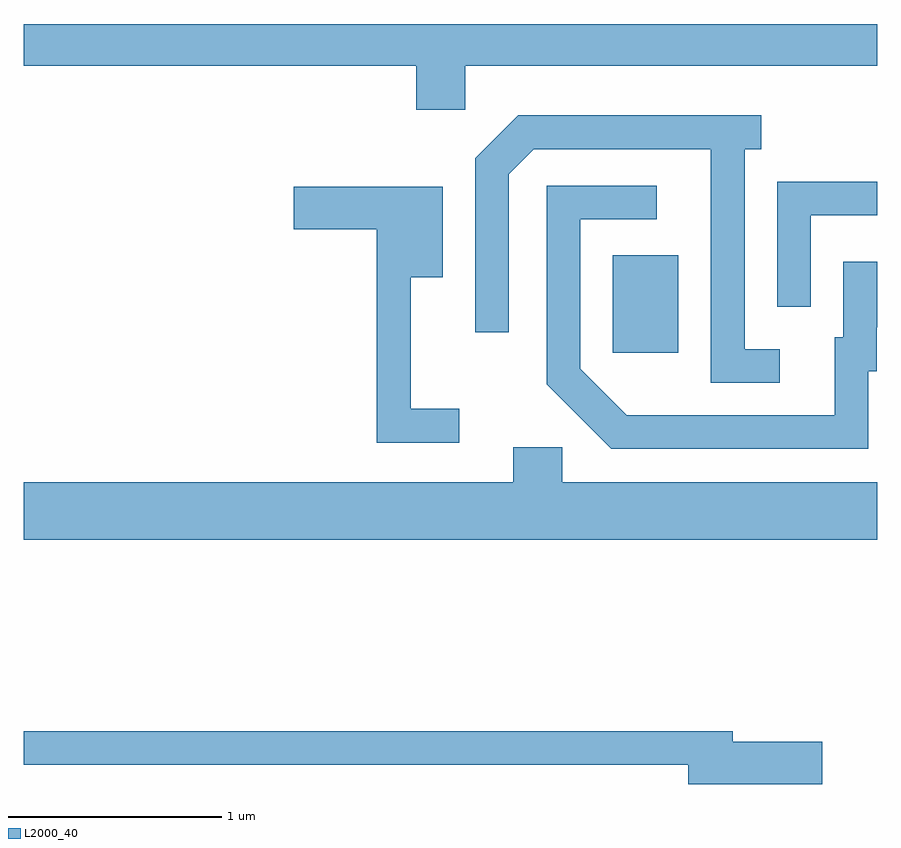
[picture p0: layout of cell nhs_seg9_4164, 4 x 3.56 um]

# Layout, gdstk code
import gdstk
lib = gdstk.Library(unit=1e-6, precision=1e-09)
def R(c, l, rs):  # rectangles x0, y0, x1, y1
    for r in rs: c.add(gdstk.rectangle(r[:2], r[2:], *l))
def P(c, l, *ps):  # polygons
    for p in ps: c.add(gdstk.Polygon(p, *l))
L2000_40 = (2000, 40)

nhs_seg9_4164 = lib.new_cell('nhs_seg9_4164')
R(nhs_seg9_4164, L2000_40, [(310.371,2014.891,310.679,2015.349)])
P(nhs_seg9_4164, L2000_40, [(309.679,2016.236),(311.611,2016.236),(311.611,2016.432),(307.611,2016.432),(307.611,2016.236),(309.451,2016.236),(309.451,2016.031),(309.679,2016.031)],
  [(311.153,2014.909),(310.989,2014.909),(310.989,2015.846),(311.068,2015.846),(311.068,2016.004),(309.929,2016.004),(309.726,2015.802),(309.726,2014.988),(309.884,2014.988),(309.884,2015.729),(310.002,2015.846),(310.831,2015.846),(310.831,2014.751),(311.153,2014.751)],
  [(311.299,2015.536),(311.611,2015.536),(311.611,2015.694),(311.141,2015.694),(311.141,2015.108),(311.299,2015.108)],
  [(311.569,2014.806),(311.609,2014.806),(311.609,2015.011),(311.611,2015.011),(311.611,2015.319),(311.451,2015.319),(311.451,2014.964),(311.411,2014.964),(311.411,2014.599),(310.437,2014.599),(310.219,2014.817),(310.219,2015.516),(310.578,2015.516),(310.578,2015.674),(310.061,2015.674),(310.061,2014.744),(310.364,2014.441),(311.569,2014.441)],
  [(309.653,2014.629),(309.424,2014.629),(309.424,2015.246),(309.574,2015.246),(309.574,2015.669),(308.876,2015.669),(308.876,2015.471),(309.266,2015.471),(309.266,2014.471),(309.653,2014.471)],
  [(311.611,2014.284),(310.134,2014.284),(310.134,2014.449),(309.906,2014.449),(309.906,2014.284),(307.611,2014.284),(307.611,2014.016),(311.611,2014.016)],
  [(311.354,2013.069),(310.934,2013.069),(310.934,2013.119),(307.611,2013.119),(307.611,2012.961),(310.726,2012.961),(310.726,2012.871),(311.354,2012.871)])

lib.write_gds('nhs_seg9_4164.gds')
